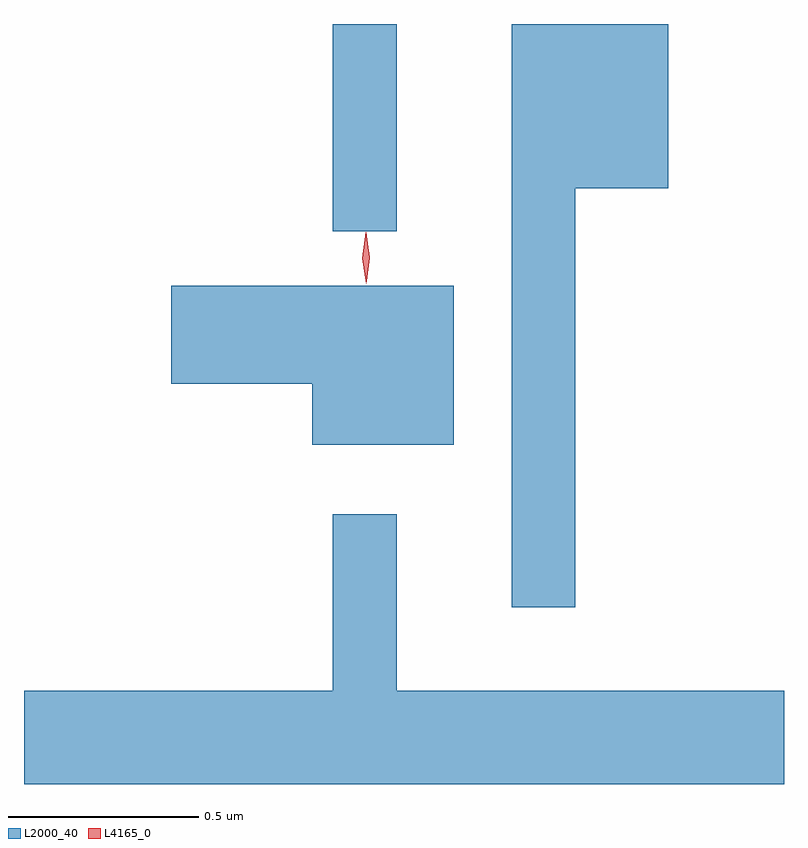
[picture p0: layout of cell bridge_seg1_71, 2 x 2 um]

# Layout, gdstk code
import gdstk
lib = gdstk.Library(unit=1e-6, precision=1e-09)
def R(c, l, rs):  # rectangles x0, y0, x1, y1
    for r in rs: c.add(gdstk.rectangle(r[:2], r[2:], *l))
def P(c, l, *ps):  # polygons
    for p in ps: c.add(gdstk.Polygon(p, *l))
L2000_40 = (2000, 40)
L4165_0 = (4165, 0)

bridge_seg1_71 = lib.new_cell('bridge_seg1_71')
R(bridge_seg1_71, L2000_40, [(1908.841,883.293,1909.009,883.838)])
P(bridge_seg1_71, L2000_40, [(1909.479,883.406),(1909.724,883.406),(1909.724,883.838),(1909.311,883.838),(1909.311,882.303),(1909.479,882.303)],
  [(1909.159,883.149),(1908.416,883.149),(1908.416,882.891),(1908.786,882.891),(1908.786,882.731),(1909.159,882.731)],
  [(1910.028,882.084),(1909.009,882.084),(1909.009,882.548),(1908.841,882.548),(1908.841,882.084),(1908.028,882.084),(1908.028,881.838),(1910.028,881.838)])
P(bridge_seg1_71, L4165_0, [(1908.928,883.154),(1908.918,883.222),(1908.927,883.29),(1908.928,883.29),(1908.928,883.29),(1908.938,883.222),(1908.929,883.154),(1908.929,883.154)],
  [(1908.929,883.16),(1908.929,883.161),(1908.919,883.224),(1908.927,883.286),(1908.928,883.287),(1908.928,883.286),(1908.938,883.224),(1908.93,883.161)])

lib.write_gds('bridge_seg1_71.gds')
